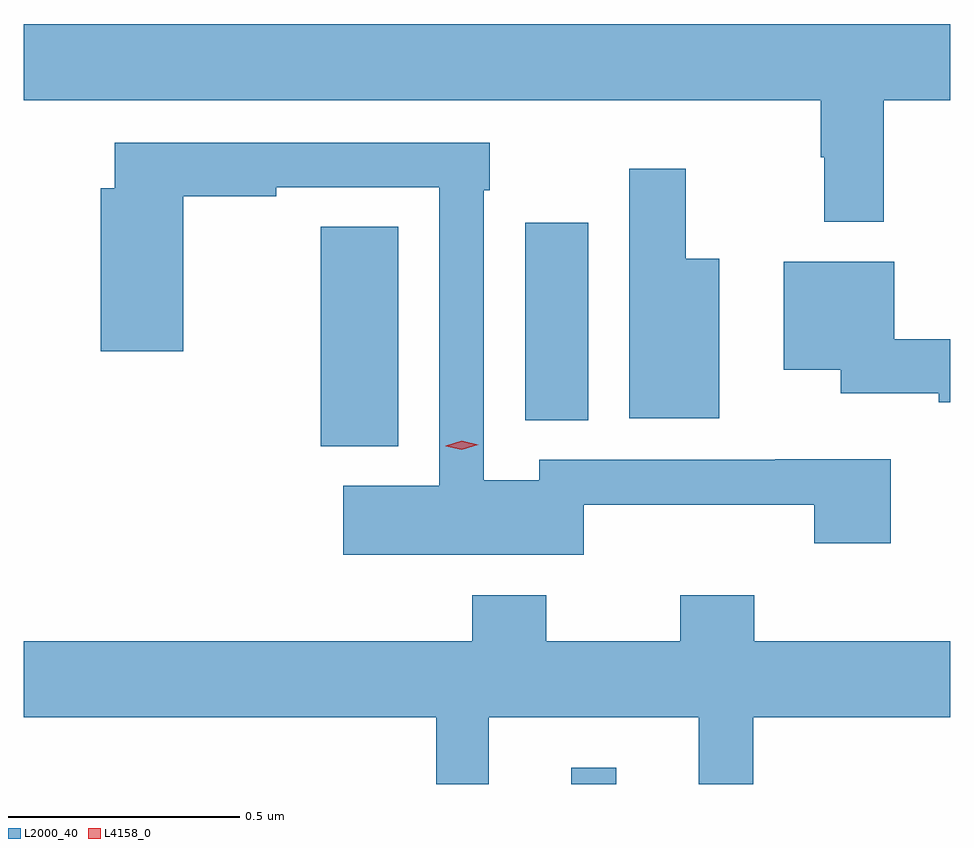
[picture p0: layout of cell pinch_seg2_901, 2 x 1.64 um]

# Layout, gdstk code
import gdstk
lib = gdstk.Library(unit=1e-6, precision=1e-09)
def R(c, l, rs):  # rectangles x0, y0, x1, y1
    for r in rs: c.add(gdstk.rectangle(r[:2], r[2:], *l))
def P(c, l, *ps):  # polygons
    for p in ps: c.add(gdstk.Polygon(p, *l))
L2000_40 = (2000, 40)
L4158_0 = (4158, 0)

pinch_seg2_901 = lib.new_cell('pinch_seg2_901')
R(pinch_seg2_901, L2000_40, [(467.823,603.536,467.92,603.571), (467.282,604.265,467.449,604.739), (467.723,604.321,467.86,604.747)])
P(pinch_seg2_901, L2000_40, [(468.497,605.012),(468.641,605.012),(468.641,605.176),(466.641,605.176),(466.641,605.012),(468.361,605.012),(468.361,604.889),(468.369,604.889),(468.369,604.749),(468.497,604.749)],
  [(467.85,604.139),(468.347,604.139),(468.347,604.056),(468.512,604.056),(468.512,604.237),(468.263,604.237),(468.263,604.236),(467.754,604.236),(467.754,604.192),(467.634,604.192),(467.634,604.817),(467.647,604.817),(467.647,604.92),(466.838,604.92),(466.838,604.822),(466.808,604.822),(466.808,604.47),(466.986,604.47),(466.986,604.804),(467.186,604.804),(467.186,604.824),(467.538,604.824),(467.538,604.18),(467.331,604.18),(467.331,604.031),(467.85,604.031)],
  [(468.142,604.669),(468.07,604.669),(468.07,604.864),(467.948,604.864),(467.948,604.325),(468.142,604.325)],
  [(468.641,604.496),(468.52,604.496),(468.52,604.663),(468.281,604.663),(468.281,604.43),(468.404,604.43),(468.404,604.379),(468.616,604.379),(468.616,604.36),(468.641,604.36)],
  [(467.645,603.68),(468.098,603.68),(468.098,603.536),(468.215,603.536),(468.215,603.68),(468.641,603.68),(468.641,603.844),(468.218,603.844),(468.218,603.943),(468.058,603.943),(468.058,603.844),(467.769,603.844),(467.769,603.943),(467.609,603.943),(467.609,603.844),(466.641,603.844),(466.641,603.68),(467.531,603.68),(467.531,603.536),(467.645,603.536)])
P(pinch_seg2_901, L4158_0, [(467.587,604.257),(467.552,604.265),(467.552,604.266),(467.552,604.266),(467.586,604.277),(467.622,604.268),(467.622,604.268),(467.622,604.268)])

lib.write_gds('pinch_seg2_901.gds')
